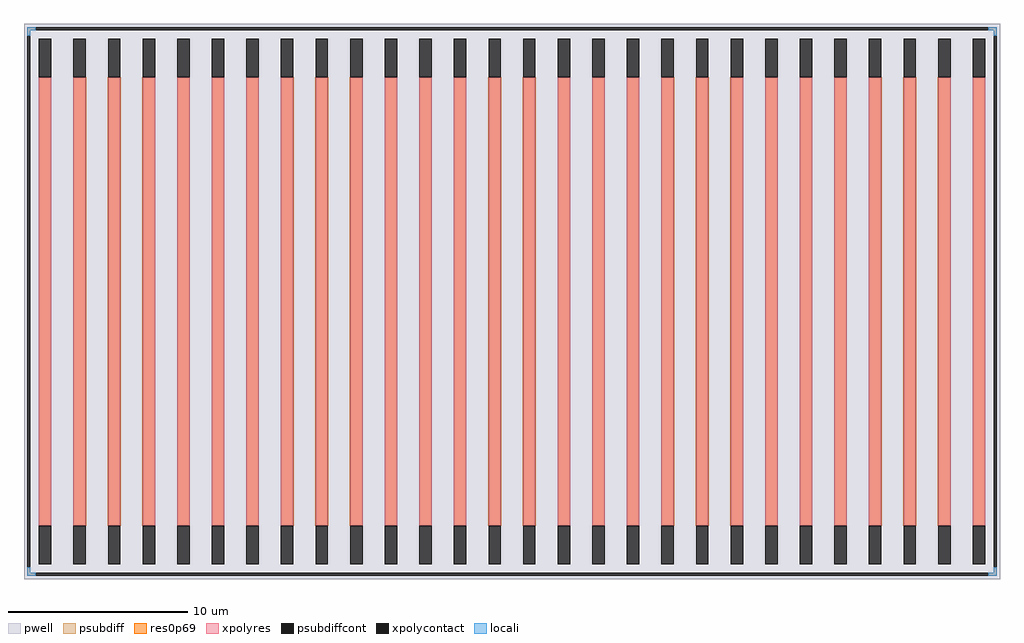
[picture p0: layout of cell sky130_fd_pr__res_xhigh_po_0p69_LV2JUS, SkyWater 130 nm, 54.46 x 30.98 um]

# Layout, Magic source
magic
tech sky130A
<< pwell >>
rect -2723 -1549 2723 1549
<< psubdiff >>
rect -2705 1514 -2657 1531
rect 2657 1514 2705 1531
rect -2705 1483 -2688 1514
rect 2688 1483 2705 1514
rect -2705 -1514 -2688 -1483
rect 2688 -1514 2705 -1483
rect -2705 -1531 -2657 -1514
rect 2657 -1531 2705 -1514
<< psubdiffcont >>
rect -2657 1514 2657 1531
rect -2705 -1483 -2688 1483
rect 2688 -1483 2705 1483
rect -2657 -1531 2657 -1514
<< xpolycontact >>
rect -2640 1250 -2571 1466
rect -2640 -1466 -2571 -1250
rect -2447 1250 -2378 1466
rect -2447 -1466 -2378 -1250
rect -2254 1250 -2185 1466
rect -2254 -1466 -2185 -1250
rect -2061 1250 -1992 1466
rect -2061 -1466 -1992 -1250
rect -1868 1250 -1799 1466
rect -1868 -1466 -1799 -1250
rect -1675 1250 -1606 1466
rect -1675 -1466 -1606 -1250
rect -1482 1250 -1413 1466
rect -1482 -1466 -1413 -1250
rect -1289 1250 -1220 1466
rect -1289 -1466 -1220 -1250
rect -1096 1250 -1027 1466
rect -1096 -1466 -1027 -1250
rect -903 1250 -834 1466
rect -903 -1466 -834 -1250
rect -710 1250 -641 1466
rect -710 -1466 -641 -1250
rect -517 1250 -448 1466
rect -517 -1466 -448 -1250
rect -324 1250 -255 1466
rect -324 -1466 -255 -1250
rect -131 1250 -62 1466
rect -131 -1466 -62 -1250
rect 62 1250 131 1466
rect 62 -1466 131 -1250
rect 255 1250 324 1466
rect 255 -1466 324 -1250
rect 448 1250 517 1466
rect 448 -1466 517 -1250
rect 641 1250 710 1466
rect 641 -1466 710 -1250
rect 834 1250 903 1466
rect 834 -1466 903 -1250
rect 1027 1250 1096 1466
rect 1027 -1466 1096 -1250
rect 1220 1250 1289 1466
rect 1220 -1466 1289 -1250
rect 1413 1250 1482 1466
rect 1413 -1466 1482 -1250
rect 1606 1250 1675 1466
rect 1606 -1466 1675 -1250
rect 1799 1250 1868 1466
rect 1799 -1466 1868 -1250
rect 1992 1250 2061 1466
rect 1992 -1466 2061 -1250
rect 2185 1250 2254 1466
rect 2185 -1466 2254 -1250
rect 2378 1250 2447 1466
rect 2378 -1466 2447 -1250
rect 2571 1250 2640 1466
rect 2571 -1466 2640 -1250
<< xpolyres >>
rect -2640 -1250 -2571 1250
rect -2447 -1250 -2378 1250
rect -2254 -1250 -2185 1250
rect -2061 -1250 -1992 1250
rect -1868 -1250 -1799 1250
rect -1675 -1250 -1606 1250
rect -1482 -1250 -1413 1250
rect -1289 -1250 -1220 1250
rect -1096 -1250 -1027 1250
rect -903 -1250 -834 1250
rect -710 -1250 -641 1250
rect -517 -1250 -448 1250
rect -324 -1250 -255 1250
rect -131 -1250 -62 1250
rect 62 -1250 131 1250
rect 255 -1250 324 1250
rect 448 -1250 517 1250
rect 641 -1250 710 1250
rect 834 -1250 903 1250
rect 1027 -1250 1096 1250
rect 1220 -1250 1289 1250
rect 1413 -1250 1482 1250
rect 1606 -1250 1675 1250
rect 1799 -1250 1868 1250
rect 1992 -1250 2061 1250
rect 2185 -1250 2254 1250
rect 2378 -1250 2447 1250
rect 2571 -1250 2640 1250
<< locali >>
rect -2705 1514 -2657 1531
rect 2657 1514 2705 1531
rect -2705 1483 -2688 1514
rect 2688 1483 2705 1514
rect -2705 -1514 -2688 -1483
rect 2688 -1514 2705 -1483
rect -2705 -1531 -2657 -1514
rect 2657 -1531 2705 -1514
<< res0p69 >>
rect -2641 -1251 -2570 1251
rect -2448 -1251 -2377 1251
rect -2255 -1251 -2184 1251
rect -2062 -1251 -1991 1251
rect -1869 -1251 -1798 1251
rect -1676 -1251 -1605 1251
rect -1483 -1251 -1412 1251
rect -1290 -1251 -1219 1251
rect -1097 -1251 -1026 1251
rect -904 -1251 -833 1251
rect -711 -1251 -640 1251
rect -518 -1251 -447 1251
rect -325 -1251 -254 1251
rect -132 -1251 -61 1251
rect 61 -1251 132 1251
rect 254 -1251 325 1251
rect 447 -1251 518 1251
rect 640 -1251 711 1251
rect 833 -1251 904 1251
rect 1026 -1251 1097 1251
rect 1219 -1251 1290 1251
rect 1412 -1251 1483 1251
rect 1605 -1251 1676 1251
rect 1798 -1251 1869 1251
rect 1991 -1251 2062 1251
rect 2184 -1251 2255 1251
rect 2377 -1251 2448 1251
rect 2570 -1251 2641 1251
<< properties >>
string gencell sky130_fd_pr__res_xhigh_po_0p69
string FIXED_BBOX -2696 -1522 2696 1522
string parameters w 0.69 l 25.0 m 1 nx 28 wmin 0.690 lmin 0.50 rho 2000 val 72.811k dummy 0 dw 0.0 term 120 sterm 0.0 caplen 0 wmax 0.690 guard 1 glc 1 grc 1 gtc 1 gbc 1 compatible {sky130_fd_pr__res_xhigh_po_0p35  sky130_fd_pr__res_xhigh_po_0p69 sky130_fd_pr__res_xhigh_po_1p41  sky130_fd_pr__res_xhigh_po_2p85 sky130_fd_pr__res_xhigh_po_5p73} full_metal 1
string library sky130
<< end >>
